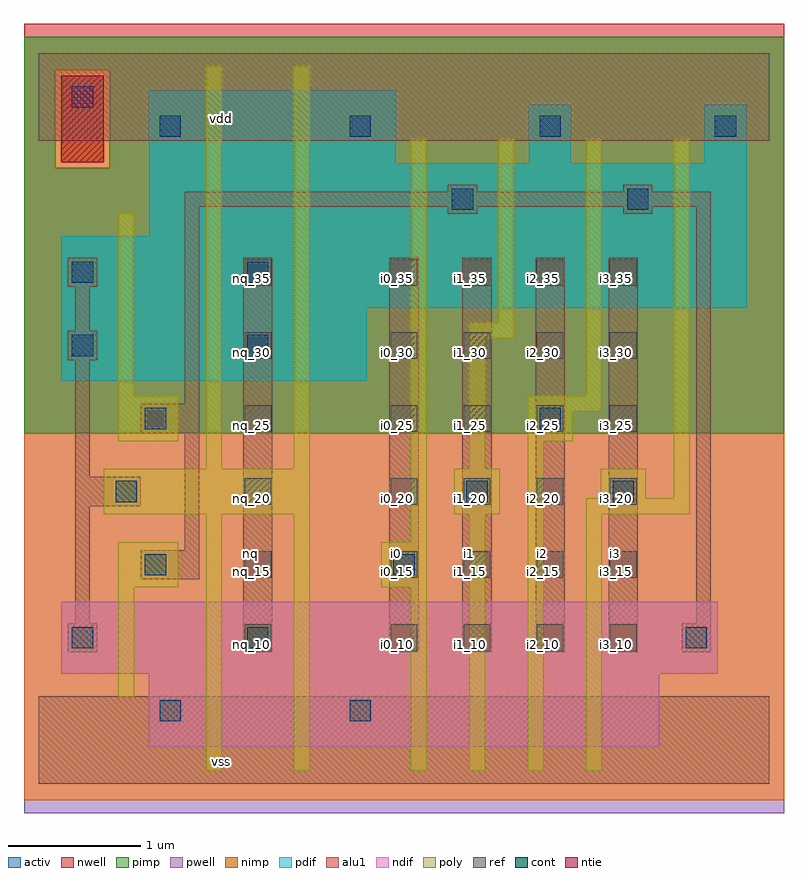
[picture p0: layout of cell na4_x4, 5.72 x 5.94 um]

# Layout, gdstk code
import gdstk
lib = gdstk.Library(unit=1e-6, precision=2.5e-09)
def R(c, l, rs):  # rectangles x0, y0, x1, y1
    for r in rs: c.add(gdstk.rectangle(r[:2], r[2:], *l))
def A(c, l, x, y, w, h, nx, ny, dx, dy):  # array of equal rectangles
    R(c, l, [(x+i*dx, y+j*dy, x+i*dx+w, y+j*dy+h) for i in range(nx) for j in range(ny)])
ndif = (3, 0)
pdif = (4, 0)
ntie = (5, 0)
ref = (24, 0)
cont = (25, 0)
pwell = (41, 0)
nwell = (42, 0)
activ = (43, 0)
pimp = (44, 0)
nimp = (45, 0)
poly = (46, 0)
alu1 = (49, 0)

na4_x4 = lib.new_cell('na4_x4')
R(na4_x4, ndif, [(0.83,0.28,4.67,0.83), (0.83,0.28,4.67,0.83), (0.17,0.83,5.11,1.37), (0.17,0.83,5.11,1.37)])
R(na4_x4, pdif, [(0.17,3.03,2.47,3.58), (0.17,3.03,2.47,3.58), (0.17,3.58,5.33,4.12), (0.17,3.58,5.33,4.12), (0.83,4.12,5.33,4.67), (0.83,4.12,5.33,4.67), (0.83,4.67,2.69,5.22), (0.83,4.67,2.69,5.22), (3.69,4.67,4.01,5.11), (3.69,4.67,4.01,5.11), (5.01,4.67,5.33,5.11), (5.01,4.67,5.33,5.11)])
R(na4_x4, ntie, [(0.17,4.68,0.49,5.33), (0.17,4.68,0.49,5.33)])
A(na4_x4, ref, 1.55, 1, 0.2, 0.2, 1, 6, 0, 0.55)
A(na4_x4, ref, 2.65, 1, 0.2, 0.2, 4, 6, 0.55, 0.55)
A(na4_x4, cont, 0.91, 4.87, 0.16, 0.16, 3, 1, 1.43, 0)
R(na4_x4, cont, [(0.91,0.47,1.07,0.63), (2.34,0.47,2.5,0.63), (0.25,1.02,0.41,1.18), (1.57,1.02,1.73,1.18), (4.87,1.02,5.03,1.18), (0.8,1.57,0.96,1.73), (2.67,1.57,2.83,1.73), (0.58,2.12,0.74,2.28), (3.22,2.12,3.38,2.28), (4.32,2.12,4.48,2.28), (0.8,2.67,0.96,2.83), (3.77,2.67,3.93,2.83), (0.25,3.22,0.41,3.38), (1.57,3.22,1.73,3.38), (0.25,3.77,0.41,3.93), (1.57,3.77,1.73,3.93), (3.11,4.32,3.27,4.48), (4.43,4.32,4.59,4.48), (5.09,4.87,5.25,5.03), (0.25,5.09,0.41,5.25)])
R(na4_x4, pwell, [(-0.11,-0.22,5.61,2.64)])
R(na4_x4, nwell, [(-0.11,2.64,5.61,5.72)])
R(na4_x4, activ, [(0.83,0.28,4.67,0.83), (0.83,0.28,4.67,0.83), (0.17,0.83,5.11,1.37), (0.17,0.83,5.11,1.37), (0.17,3.03,2.47,3.58), (0.17,3.03,2.47,3.58), (0.17,3.58,5.33,4.12), (0.17,3.58,5.33,4.12), (0.83,4.12,5.33,4.67), (0.83,4.12,5.33,4.67), (0.83,4.67,2.69,5.22), (0.83,4.67,2.69,5.22), (3.69,4.67,4.01,5.11), (3.69,4.67,4.01,5.11), (5.01,4.67,5.33,5.11), (5.01,4.67,5.33,5.11), (0.17,4.68,0.49,5.33), (0.17,4.68,0.49,5.33)])
R(na4_x4, pimp, [(-0.11,2.64,5.61,4.635), (-0.11,4.635,0.125,5.375), (0.535,4.635,5.61,5.375), (-0.11,5.375,5.61,5.625)])
R(na4_x4, nimp, [(-0.11,-0.125,5.61,2.64), (0.125,4.635,0.535,5.375)])
R(na4_x4, poly, [(1.26,0.1,1.38,2.03), (1.92,0.1,2.04,2.03), (2.8,0.1,2.92,1.48), (3.24,0.1,3.36,2.03), (3.68,0.1,3.8,2.58), (4.12,0.1,4.24,2.03), (0.6,0.65,0.72,1.48), (0.6,1.48,1.05,1.82), (2.58,1.48,2.92,1.82), (2.8,1.82,2.92,4.85), (0.49,2.03,2.04,2.37), (3.13,2.03,3.47,2.37), (4.12,2.03,4.9,2.15), (4.23,2.15,4.57,2.37), (4.78,2.15,4.9,4.85), (1.26,2.37,1.38,5.4), (1.92,2.37,2.04,5.4), (3.24,2.37,3.36,3.35), (0.6,2.58,1.05,2.92), (3.68,2.58,4.02,2.8), (3.68,2.8,4.24,2.92), (0.6,2.92,0.72,4.3), (4.12,2.92,4.24,4.85), (3.24,3.35,3.58,3.47), (3.46,3.47,3.58,4.85)])
A(na4_x4, alu1, 2.64, 0.99, 0.22, 2.97, 4, 1, 0.55, 0)
R(na4_x4, alu1, [(0,0,5.5,0.66), (0.22,0.99,0.44,1.21), (1.54,0.99,1.76,3.96), (4.84,0.99,5.06,1.21), (0.275,1.21,0.385,2.09), (4.95,1.21,5.06,4.345), (0.77,1.54,1.21,1.76), (1.1,1.76,1.21,2.64), (0.275,2.09,0.77,2.31), (0.275,2.31,0.385,3.19), (0.77,2.64,1.21,2.86), (1.1,2.86,1.21,4.345), (0.22,3.19,0.44,3.41), (0.275,3.41,0.385,3.74), (0.22,3.74,0.44,3.96), (3.08,4.29,3.3,4.345), (4.4,4.29,4.62,4.345), (1.1,4.345,5.06,4.455), (3.08,4.455,3.3,4.51), (4.4,4.455,4.62,4.51), (0,4.84,5.5,5.5)])
na4_x4.add(gdstk.Label('vss', (1.375,0.165), layer=49, texttype=0))
na4_x4.add(gdstk.Label('i3', (4.345,1.7325), layer=49, texttype=0))
na4_x4.add(gdstk.Label('i2', (3.795,1.7325), layer=49, texttype=0))
na4_x4.add(gdstk.Label('i1', (3.245,1.7325), layer=49, texttype=0))
na4_x4.add(gdstk.Label('i0', (2.695,1.7325), layer=49, texttype=0))
na4_x4.add(gdstk.Label('nq', (1.595,1.7325), layer=49, texttype=0))
na4_x4.add(gdstk.Label('vdd', (1.375,5.005), layer=49, texttype=0))
na4_x4.add(gdstk.Label('nq_10', (1.6,1.05), layer=24, texttype=0))
na4_x4.add(gdstk.Label('nq_35', (1.6,3.8), layer=24, texttype=0))
na4_x4.add(gdstk.Label('nq_30', (1.6,3.25), layer=24, texttype=0))
na4_x4.add(gdstk.Label('nq_25', (1.6,2.7), layer=24, texttype=0))
na4_x4.add(gdstk.Label('nq_20', (1.6,2.15), layer=24, texttype=0))
na4_x4.add(gdstk.Label('nq_15', (1.6,1.6), layer=24, texttype=0))
na4_x4.add(gdstk.Label('i2_15', (3.8,1.6), layer=24, texttype=0))
na4_x4.add(gdstk.Label('i2_10', (3.8,1.05), layer=24, texttype=0))
na4_x4.add(gdstk.Label('i3_10', (4.35,1.05), layer=24, texttype=0))
na4_x4.add(gdstk.Label('i3_15', (4.35,1.6), layer=24, texttype=0))
na4_x4.add(gdstk.Label('i3_20', (4.35,2.15), layer=24, texttype=0))
na4_x4.add(gdstk.Label('i3_25', (4.35,2.7), layer=24, texttype=0))
na4_x4.add(gdstk.Label('i3_30', (4.35,3.25), layer=24, texttype=0))
na4_x4.add(gdstk.Label('i3_35', (4.35,3.8), layer=24, texttype=0))
na4_x4.add(gdstk.Label('i1_20', (3.25,2.15), layer=24, texttype=0))
na4_x4.add(gdstk.Label('i1_25', (3.25,2.7), layer=24, texttype=0))
na4_x4.add(gdstk.Label('i1_30', (3.25,3.25), layer=24, texttype=0))
na4_x4.add(gdstk.Label('i1_35', (3.25,3.8), layer=24, texttype=0))
na4_x4.add(gdstk.Label('i2_35', (3.8,3.8), layer=24, texttype=0))
na4_x4.add(gdstk.Label('i2_30', (3.8,3.25), layer=24, texttype=0))
na4_x4.add(gdstk.Label('i2_25', (3.8,2.7), layer=24, texttype=0))
na4_x4.add(gdstk.Label('i2_20', (3.8,2.15), layer=24, texttype=0))
na4_x4.add(gdstk.Label('i0_15', (2.7,1.6), layer=24, texttype=0))
na4_x4.add(gdstk.Label('i0_20', (2.7,2.15), layer=24, texttype=0))
na4_x4.add(gdstk.Label('i0_25', (2.7,2.7), layer=24, texttype=0))
na4_x4.add(gdstk.Label('i0_30', (2.7,3.25), layer=24, texttype=0))
na4_x4.add(gdstk.Label('i0_35', (2.7,3.8), layer=24, texttype=0))
na4_x4.add(gdstk.Label('i0_10', (2.7,1.05), layer=24, texttype=0))
na4_x4.add(gdstk.Label('i1_10', (3.25,1.05), layer=24, texttype=0))
na4_x4.add(gdstk.Label('i1_15', (3.25,1.6), layer=24, texttype=0))

lib.write_gds('na4_x4.gds')
